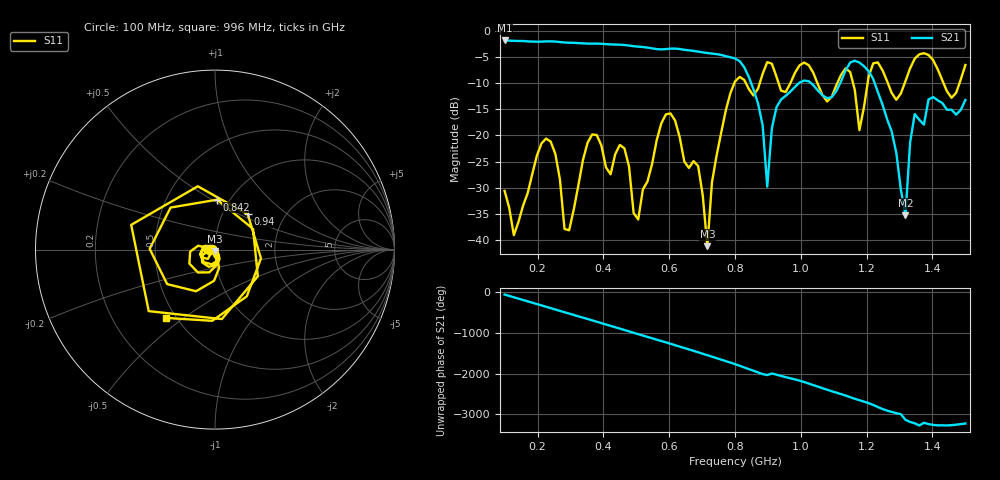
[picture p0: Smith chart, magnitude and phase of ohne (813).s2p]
! NanoVNA-App
! Date: 2025-09-25 14:27:07
! Start: 100MHz Stop: 1,5GHz Points: 101
! S-Parameter data: F S11 S21 S12 S22
# Hz S RI R 50
!  Frequency  S11_Real  S11_Imag  S21_Real  S21_Imag  S12_Real  S12_Imag  S22_Real  S22_Imag
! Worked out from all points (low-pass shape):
!   101 points, 100 MHz to 1.5 GHz, reference 50 ohm
!   highest |S21| = -1.79 dB at 100 MHz (marker M1); lowest = -35.3 dB at 1.318 GHz (marker M2)
!   |S21| within 3 dB of the highest: start of sweep to 770.9 MHz
!   lowest |S11| = -41.2 dB at 716 MHz (marker M3), VSWR 1.02, Z = 49.8 - j0.834 ohm
!   |S11| at or under -10 dB: start of sweep to 797.9 MHz; 833.2 MHz to 875.1 MHz (41.87 MHz wide, 4.9 % of centre); 1.051 GHz to 1.111 GHz (59.98 MHz wide, 5.55 % of centre) (the widest 3 of 7)
!   S12 and S22 are empty: the file has one direction only
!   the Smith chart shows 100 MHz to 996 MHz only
!   S11 on the Smith chart (normalised r, x): 100 MHz: 0.94, -0.01; 842 MHz: 0.88, +0.53; 940 MHz: 1.31, +0.56; 996 MHz: 0.44, -0.43
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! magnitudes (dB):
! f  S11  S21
! 100 MHz  -30.6  -1.8
! 128 MHz  -39.1  -1.9
! 226 MHz  -20.6  -2.0
! 296 MHz  -38.2  -2.2
! 338 MHz  -24.7  -2.3
! 464 MHz  -22.5  -2.7
! 506 MHz  -36.1  -3.0
! 576 MHz  -17.7  -3.5
! 688 MHz  -25.9  -3.9
! 716 MHz  -41.2  -4.2
! 800 MHz  -9.7  -5.3
! 842 MHz  -11.1  -8.8
! 898 MHz  -6.0  -29.8
! 940 MHz  -11.4  -13.1
! 996 MHz  -6.6  -9.9
! 1.038 GHz  -8.0  -10.4
! 1.178 GHz  -19.0  -6.0
! 1.22 GHz  -6.2  -9.2
! 1.276 GHz  -11.9  -19.2
! 1.318 GHz  -9.6  -35.3
! 1.346 GHz  -5.3  -15.9
! 1.5 GHz  -6.5  -13.2
